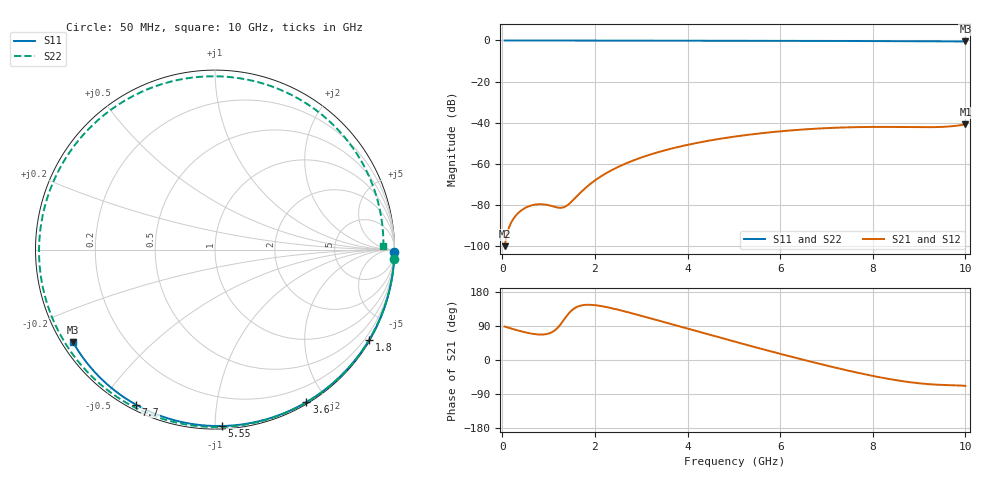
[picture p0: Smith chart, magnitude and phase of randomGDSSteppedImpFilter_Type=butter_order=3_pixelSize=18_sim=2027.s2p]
! freq	dB(S11)	phase(S11)	dB(S12)	phase(S12)
!  dB(S21)	phase(S21)	dB(S22)	phase(S22)
!S-par simulation data
#  GHz  S  DB  R 50
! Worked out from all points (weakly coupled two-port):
!   200 points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, 50 MHz to 10 GHz, reference 50 ohm
!   highest |S21| = -40.88 dB at 10 GHz (marker M1); lowest = -100.1 dB at 50 MHz (marker M2)
!   lowest |S11| = -0.5 dB at 10 GHz (marker M3), VSWR 34.97, Z = 1.56 - j14.9 ohm
!   |S11| at or under -10 dB: nowhere
!   |S22| runs from -0.6 to 0.0 dB; largest |S21 - S12| = 0
!   S11 on the Smith chart (normalised r, x): 50 MHz: open; 1.8 GHz: 0.03, -3.69; 3.6 GHz: 0.02, -1.77; 5.55 GHz: 0.02, -1.04; 7.7 GHz: 0.02, -0.61; 10 GHz: 0.03, -0.30
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0.05  -0.00 -0.9  -100.14 88.2  -100.14 88.2  -0.00 -2.9
0.4  -0.01 -6.8  -82.91 75.9  -82.91 75.9  -0.03 -23.1
0.75  -0.02 -12.8  -79.79 67.6  -79.79 67.6  -0.05 -42.7
1.05  -0.02 -17.8  -80.48 72.1  -80.48 72.1  -0.07 -58.6
1.4  -0.03 -23.7  -80.33 117.6  -80.33 117.6  -0.09 -76.0
1.75  -0.04 -29.5  -72.76 144.9  -72.76 144.9  -0.10 -92.1
1.8  -0.04 -30.3  -71.75 145.5  -71.75 145.5  -0.10 -94.3
2.1  -0.05 -35.2  -66.62 143.0  -66.62 143.0  -0.11 -106.9
2.45  -0.05 -40.9  -62.14 134.2  -62.14 134.2  -0.12 -120.6
2.9  -0.06 -48.1  -57.81 120.0  -57.81 120.0  -0.13 -136.7
3.4  -0.07 -56.0  -54.16 103.1  -54.16 103.1  -0.14 -153.2
3.6  -0.08 -59.1  -52.94 96.3  -52.94 96.3  -0.15 -159.4
4.3  -0.10 -69.7  -49.45 72.4  -49.45 72.4  -0.17 179.8
5.05  -0.12 -80.7  -46.69 47.3  -46.69 47.3  -0.20 158.7
5.55  -0.14 -87.9  -45.27 30.8  -45.27 30.8  -0.22 144.8
6.15  -0.17 -96.2  -43.94 11.6  -43.94 11.6  -0.25 128.0
6.7  -0.20 -103.8  -43.04 -5.5  -43.04 -5.5  -0.27 112.2
7.2  -0.23 -110.5  -42.49 -20.4  -42.49 -20.4  -0.30 97.4
7.7  -0.27 -117.1  -42.18 -34.3  -42.18 -34.3  -0.32 82.0
8.35  -0.32 -125.6  -42.10 -50.1  -42.10 -50.1  -0.35 60.9
9.25  -0.41 -137.2  -42.23 -64.1  -42.23 -64.1  -0.43 29.5
10  -0.50 -146.9  -40.88 -68.2  -40.88 -68.2  -0.55 1.2
